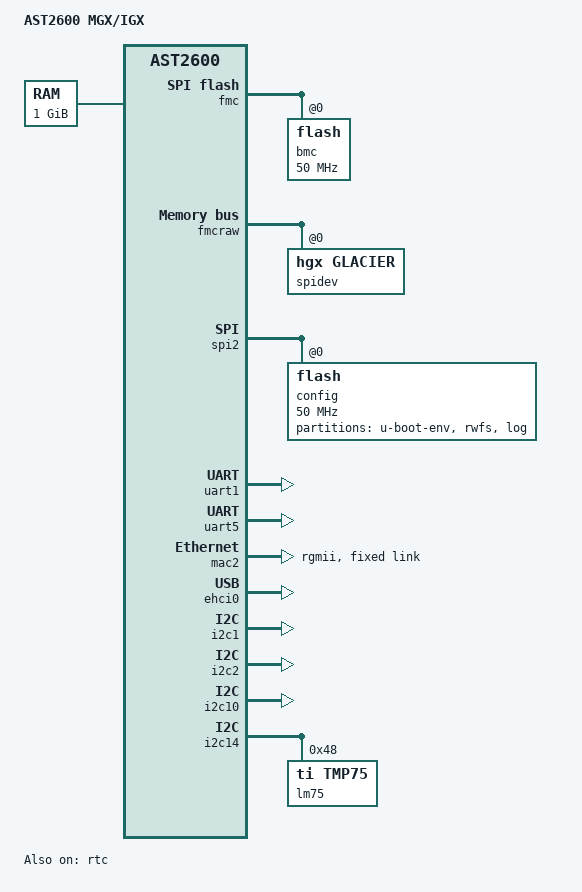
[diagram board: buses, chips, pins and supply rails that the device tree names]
// SPDX-License-Identifier: GPL-2.0+
/dts-v1/;

#include "aspeed-g6.dtsi"
#include <dt-bindings/gpio/aspeed-gpio.h>
#include <dt-bindings/leds/common.h>

/ {
       model = "AST2600 MGX/IGX";
       compatible = "aspeed,ast2600";

       aliases {
               serial4 = &uart5;
       };

       chosen {
               stdout-path = &uart5;
               bootargs = "console=ttyS4,115200n8 root=/dev/ram rw earlyprintk";
       };

       memory@80000000 {
               reg = <0x80000000 0x40000000>;
       };

};

&gpio0 {
        gpio-line-names =
        /*A0-A7*/       "","","","","","","","",
        /*B0-B7*/       "prereg_force_off","soc_prereg_on","system_oc_n","vin_pwr_on","","","","",
        /*C0-C7*/       "","","","","","","","",
        /*D0-D7*/       "","","","","","","","",
        /*E0-E7*/       "","","","","","","","",
        /*F0-F7*/       "","","","","","","","",
        /*G0-G7*/       "","","","","","","","",
        /*H0-H7*/       "","","","","","","","",
        /*I0-I7*/       "","","","","","","","",
        /*J0-J7*/       "","","","bmc_ready","","","","",
        /*K0-K7*/       "shifter_enable_uart","","pcie_pwrbrk_n","mod_shdn_n","temp_alert_n","","bmc_rst_btn_n","bmc_pwr_btn_n",
        /*L0-L7*/       "","bmc_rec_btn_n","phy_rst","","","","","",
        /*M0-M7*/       "","","","","","","","",
        /*N0-N7*/       "bmc_gpio_n0","bmc_gpio_n1","","","sys_pwrok","","","",
        /*O0-O7*/       "","","","","","","","",
        /*P0-P7*/       "","","","","","","","",
        /*Q0-Q7*/       "","","","","","","","",
        /*R0-R7*/       "","","","","","","","",
        /*S0-S7*/       "","","","","","","","",
        /*T0-T7*/       "","","","","","","","",
        /*U0-U7*/       "vcomp_alert_n","vmon_irq_n","","pwr_irq_n","","","12v_prereg_pg","mv_prereg_pg",
        /*V0-V7*/       "","","","","","","","",
        /*W0-W7*/       "","","","","","","","",
        /*X0-X7*/       "","","","","","","","",
        /*Y0-Y7*/       "vbat_soc_fault","","soc_safestate","soc_pwr_req","","","","",
        /*Z0-Z7*/       "","","","","","","","";
};
&gpio1 {
        gpio-line-names =
        /*AA0-AA7*/     "","","","","","","","",
        /*AB0-AB7*/     "","","","","","","","",
        /*AC0-AC7*/     "","","","","","","","",
        /*AD0-AD7*/     "","","","","","","","",
        /*AE0-AE7*/     "","","","","","","","";
};

/* Primary flash - FMC */
&fmc {
       status = "okay";
       flash@0 {
               status = "okay";
               m25p,fast-read;
               label = "bmc";
               spi-max-frequency = <50000000>;
               #include "aspeed-bmc-nvidia-vulcan-flash-layout-64.dtsi"
       };
};

&fmcraw {
         status = "okay";
         spidev@0 {
                  compatible = "hgx,glacier";
                  status = "okay";
         };
};

&spi2 {
       status = "okay";
       pinctrl-names = "default";
        pinctrl-0 = <&pinctrl_spi2_default>;
       flash@0 {
               status = "okay";
               label = "config";
               spi-max-frequency = <50000000>;
               partitions {
                       compatible = "fixed-partitions";
                       #address-cells = <1>;
                       #size-cells = <1>;

                       u-boot-env@0 {
                               reg = <0x0 0x40000>;
                               label = "u-boot-env";
                       };

                       rwfs@40000 {
                               reg = <0x40000 0x1000000>;
                               label = "rwfs";
                       };

                       log@3800000 {
                               reg = <0x3800000 0xc800000>;
                               label = "log";
                       };
               };
       };
};

&rtc {
        status = "okay";
};

&uart1 {
       // Host  Debug Console
       status = "okay";
};

&uart5 {
       // BMC Debug Console
       status = "okay";
};

// MAC2 of SoC connected to external PHY
&mac2 {
       status = "okay";
       phy-mode = "rgmii";
       pinctrl-names = "default";
       pinctrl-0 = <&pinctrl_rgmii3_default>;
       fixed-link {
               speed = <1000>;
               full-duplex;
       };
};

/* Tegra USB Path */
&ehci0 {
   status = "okay";
};

&i2c1 {
    status = "okay";
};

&i2c2 {
    status = "okay";
};

&i2c10 {
    status = "okay";
};

&i2c14 {
    status = "okay";
    lm75@48 {
        compatible = "ti,tmp75";
        reg = <0x48>;
    };
};
